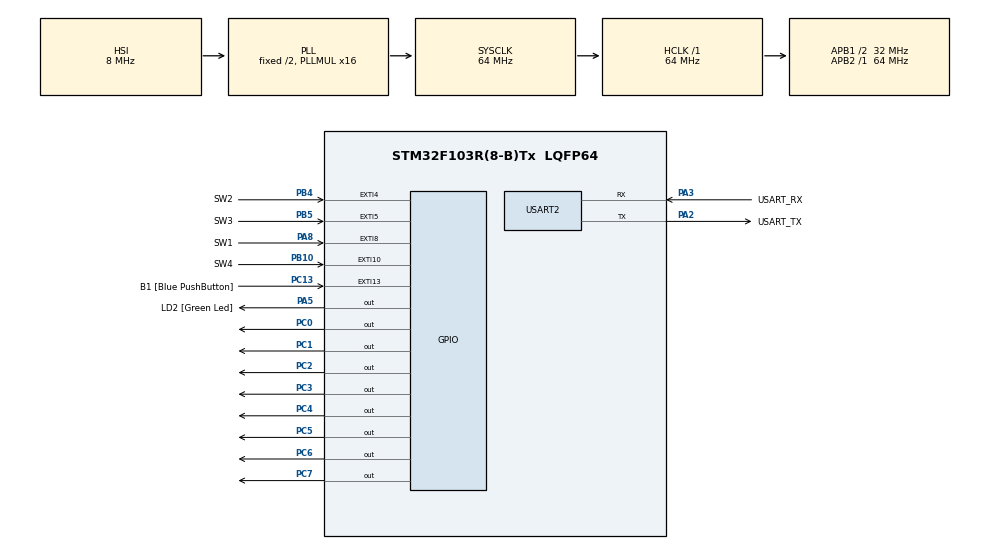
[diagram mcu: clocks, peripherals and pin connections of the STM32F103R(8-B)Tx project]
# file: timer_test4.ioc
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Mcu.Family=STM32F1
Mcu.Name=STM32F103R(8-B)Tx
Mcu.Package=LQFP64
NVIC.EXTI15_10_IRQn=true\:0\:0\:false\:false\:true\:true\:true\:true
NVIC.EXTI4_IRQn=true\:0\:0\:false\:false\:true\:true\:true\:true
NVIC.EXTI9_5_IRQn=true\:0\:0\:false\:false\:true\:true\:true\:true
NVIC.PriorityGroup=NVIC_PRIORITYGROUP_4
NVIC.TIM2_IRQn=true\:0\:0\:false\:false\:true\:true\:true\:true
PA13.GPIO_Label=TMS
PA13.Mode=Serial_Wire
PA13.Signal=SYS_JTMS-SWDIO
PA14.GPIO_Label=TCK
PA14.Mode=Serial_Wire
PA14.Signal=SYS_JTCK-SWCLK
PA2.GPIO_Label=USART_TX
PA2.GPIO_Mode=GPIO_MODE_AF_PP
PA2.GPIO_PuPd=GPIO_NOPULL
PA2.GPIO_Speed=GPIO_SPEED_FREQ_LOW
PA2.Mode=Asynchronous
PA2.Signal=USART2_TX
PA3.GPIO_Label=USART_RX
PA3.GPIO_Mode=GPIO_MODE_AF_PP
PA3.GPIO_PuPd=GPIO_NOPULL
PA3.GPIO_Speed=GPIO_SPEED_FREQ_LOW
PA3.Mode=Asynchronous
PA3.Signal=USART2_RX
PA5.GPIO_Label=LD2 [Green Led]
PA5.GPIO_ModeDefaultOutputPP=GPIO_MODE_OUTPUT_PP
PA5.GPIO_PuPd=GPIO_NOPULL
PA5.GPIO_Speed=GPIO_SPEED_FREQ_LOW
PA5.Signal=GPIO_Output
PA8.GPIO_Label=SW1
PA8.Signal=GPXTI8
PB10.GPIO_Label=SW4
PB10.Signal=GPXTI10
PB3.GPIO_Label=SWO
PB3.Signal=SYS_JTDO-TRACESWO
PB4.GPIO_Label=SW2
PB4.Signal=GPXTI4
PB5.GPIO_Label=SW3
PB5.Signal=GPXTI5
PC0.Signal=GPIO_Output
PC1.Signal=GPIO_Output
PC13-TAMPER-RTC.GPIO_Label=B1 [Blue PushButton]
PC13-TAMPER-RTC.GPIO_PuPd=GPIO_NOPULL
PC13-TAMPER-RTC.Signal=GPXTI13
PC14-OSC32_IN.Mode=LSE-External-Oscillator
PC14-OSC32_IN.Signal=RCC_OSC32_IN
PC15-OSC32_OUT.Mode=LSE-External-Oscillator
PC15-OSC32_OUT.Signal=RCC_OSC32_OUT
PC2.Signal=GPIO_Output
PC3.Signal=GPIO_Output
PC4.Signal=GPIO_Output
PC5.Signal=GPIO_Output
PC6.Signal=GPIO_Output
PC7.Signal=GPIO_Output
PD0-OSC_IN.Mode=HSE-External-Clock-Source
PD0-OSC_IN.Signal=RCC_OSC_IN
PD1-OSC_OUT.Mode=HSE-External-Clock-Source
PD1-OSC_OUT.Signal=RCC_OSC_OUT
ProjectManager.HeapSize=0x200
ProjectManager.StackSize=0x400
ProjectManager.TargetToolchain=STM32CubeIDE
RCC.AHBFreq_Value=64000000
RCC.APB1CLKDivider=RCC_HCLK_DIV2
RCC.APB1Freq_Value=32000000
RCC.APB1TimFreq_Value=64000000
RCC.APB2Freq_Value=64000000
RCC.APB2TimFreq_Value=64000000
RCC.HCLKFreq_Value=64000000
RCC.PLLMUL=RCC_PLL_MUL16
RCC.RTCClockSelection=RCC_RTCCLKSOURCE_LSE
RCC.SYSCLKFreq_VALUE=64000000
RCC.SYSCLKSource=RCC_SYSCLKSOURCE_PLLCLK
RCC.USBFreq_Value=64000000
TIM2.Channel-Output\ Compare1\ No\ Output=TIM_CHANNEL_1
TIM2.Channel-Output\ Compare2\ No\ Output=TIM_CHANNEL_2
TIM2.Period=10000-1
TIM2.Prescaler=6400-1
TIM2.Pulse-Output\ Compare2\ No\ Output=1000-1
USART2.VirtualMode=VM_ASYNC
VP_TIM2_VS_ClockSourceINT.Mode=Internal
VP_TIM2_VS_no_output1.Mode=Output Compare1 No Output
VP_TIM2_VS_no_output2.Mode=Output Compare2 No Output
board=NUCLEO-F103RB

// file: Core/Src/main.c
/* USER CODE BEGIN Header */
/**
  ******************************************************************************
  * @file           : main.c
  * @brief          : Main program body
  ******************************************************************************
  * @attention
  *
  * Copyright (c) 2022 STMicroelectronics.
  * All rights reserved.
  *
  * This software is licensed under terms that can be found in the LICENSE file
  * in the root directory of this software component.
  * If no LICENSE file comes with this software, it is provided AS-IS.
  *
  ******************************************************************************
  */
/* USER CODE END Header */
#include "main.h"

 TIM_HandleTypeDef htim2;

UART_HandleTypeDef huart2;

/* USER CODE BEGIN PV */
//TimHandler, TIM_OCInit �???���?? ?���???��?�� �???���?? ?��?��
extern TIM_HandleTypeDef TimHandle;
extern TIM_OC_InitTypeDef TIM_OCInit;
/* USER CODE END PV */

void SystemClock_Config(void);
static void MX_GPIO_Init(void);
static void MX_USART2_UART_Init(void);
static void MX_TIM2_Init(void);

int main(void)
{

  /* MCU Configuration--------------------------------------------------------*/

  /* Reset of all peripherals, Initializes the Flash interface and the Systick. */
  HAL_Init();

  /* Configure the system clock */
  SystemClock_Config();

  /* Initialize all configured peripherals */
  MX_GPIO_Init();
  MX_USART2_UART_Init();
  MX_TIM2_Init();

  /* Infinite loop */
  while (1)
  {

  }
}

void SystemClock_Config(void)
{
  RCC_OscInitTypeDef RCC_OscInitStruct = {0};
  RCC_ClkInitTypeDef RCC_ClkInitStruct = {0};

  /** Initializes the RCC Oscillators according to the specified parameters
  * in the RCC_OscInitTypeDef structure.
  */
  RCC_OscInitStruct.OscillatorType = RCC_OSCILLATORTYPE_HSI;
  RCC_OscInitStruct.HSIState = RCC_HSI_ON;
  RCC_OscInitStruct.HSICalibrationValue = RCC_HSICALIBRATION_DEFAULT;
  RCC_OscInitStruct.PLL.PLLState = RCC_PLL_ON;
  RCC_OscInitStruct.PLL.PLLSource = RCC_PLLSOURCE_HSI_DIV2;
  RCC_OscInitStruct.PLL.PLLMUL = RCC_PLL_MUL16;
  if (HAL_RCC_OscConfig(&RCC_OscInitStruct) != HAL_OK)
  {
    Error_Handler();
  }

  /** Initializes the CPU, AHB and APB buses clocks
  */
  RCC_ClkInitStruct.ClockType = RCC_CLOCKTYPE_HCLK|RCC_CLOCKTYPE_SYSCLK
                              |RCC_CLOCKTYPE_PCLK1|RCC_CLOCKTYPE_PCLK2;
  RCC_ClkInitStruct.SYSCLKSource = RCC_SYSCLKSOURCE_PLLCLK;
  RCC_ClkInitStruct.AHBCLKDivider = RCC_SYSCLK_DIV1;
  RCC_ClkInitStruct.APB1CLKDivider = RCC_HCLK_DIV2;
  RCC_ClkInitStruct.APB2CLKDivider = RCC_HCLK_DIV1;

  if (HAL_RCC_ClockConfig(&RCC_ClkInitStruct, FLASH_LATENCY_2) != HAL_OK)
  {
    Error_Handler();
  }
}

static void MX_TIM2_Init(void)
{

  TIM_ClockConfigTypeDef sClockSourceConfig = {0};
  TIM_MasterConfigTypeDef sMasterConfig = {0};
  TIM_OC_InitTypeDef sConfigOC = {0};

  htim2.Instance = TIM2;
  htim2.Init.Prescaler = 6400-1;
  htim2.Init.CounterMode = TIM_COUNTERMODE_UP;
  htim2.Init.Period = 10000-1;
  htim2.Init.ClockDivision = TIM_CLOCKDIVISION_DIV1;
  htim2.Init.AutoReloadPreload = TIM_AUTORELOAD_PRELOAD_DISABLE;
  if (HAL_TIM_Base_Init(&htim2) != HAL_OK)
  {
    Error_Handler();
  }
  sClockSourceConfig.ClockSource = TIM_CLOCKSOURCE_INTERNAL;
  if (HAL_TIM_ConfigClockSource(&htim2, &sClockSourceConfig) != HAL_OK)
  {
    Error_Handler();
  }
  if (HAL_TIM_OC_Init(&htim2) != HAL_OK)
  {
    Error_Handler();
  }
  sMasterConfig.MasterOutputTrigger = TIM_TRGO_RESET;
  sMasterConfig.MasterSlaveMode = TIM_MASTERSLAVEMODE_DISABLE;
  if (HAL_TIMEx_MasterConfigSynchronization(&htim2, &sMasterConfig) != HAL_OK)
  {
    Error_Handler();
  }
  sConfigOC.OCMode = TIM_OCMODE_TIMING;
  sConfigOC.Pulse = 0;
  sConfigOC.OCPolarity = TIM_OCPOLARITY_HIGH;
  sConfigOC.OCFastMode = TIM_OCFAST_DISABLE;
  if (HAL_TIM_OC_ConfigChannel(&htim2, &sConfigOC, TIM_CHANNEL_1) != HAL_OK)
  {
    Error_Handler();
  }
  sConfigOC.Pulse = 1000-1;
  if (HAL_TIM_OC_ConfigChannel(&htim2, &sConfigOC, TIM_CHANNEL_2) != HAL_OK)
  {
    Error_Handler();
  }
  /* USER CODE BEGIN TIM2_Init 2 */
  //???��머�? ?��?��?��?�� ?��?��. 콜백?��?�� ?��?��?�� ?�� ?��?��
	if (HAL_TIM_Base_Start_IT(&htim2) != HAL_OK) {
		Error_Handler();
	}
	if (HAL_TIM_OC_Start_IT(&htim2, TIM_CHANNEL_1) != HAL_OK) {
		Error_Handler();
	}
	if (HAL_TIM_OC_Start_IT(&htim2, TIM_CHANNEL_2) != HAL_OK) {
		Error_Handler();
	}
  /* USER CODE END TIM2_Init 2 */

}

static void MX_USART2_UART_Init(void)
{

  huart2.Instance = USART2;
  huart2.Init.BaudRate = 115200;
  huart2.Init.WordLength = UART_WORDLENGTH_8B;
  huart2.Init.StopBits = UART_STOPBITS_1;
  huart2.Init.Parity = UART_PARITY_NONE;
  huart2.Init.Mode = UART_MODE_TX_RX;
  huart2.Init.HwFlowCtl = UART_HWCONTROL_NONE;
  huart2.Init.OverSampling = UART_OVERSAMPLING_16;
  if (HAL_UART_Init(&huart2) != HAL_OK)
  {
    Error_Handler();
  }

}

static void MX_GPIO_Init(void)
{
  GPIO_InitTypeDef GPIO_InitStruct = {0};

  /* GPIO Ports Clock Enable */
  __HAL_RCC_GPIOC_CLK_ENABLE();
  __HAL_RCC_GPIOD_CLK_ENABLE();
  __HAL_RCC_GPIOA_CLK_ENABLE();
  __HAL_RCC_GPIOB_CLK_ENABLE();

  /*Configure GPIO pin Output Level */
  HAL_GPIO_WritePin(GPIOC, GPIO_PIN_0|GPIO_PIN_1|GPIO_PIN_2|GPIO_PIN_3
                          |GPIO_PIN_4|GPIO_PIN_5|GPIO_PIN_6|GPIO_PIN_7, GPIO_PIN_RESET);

  /*Configure GPIO pin Output Level */
  HAL_GPIO_WritePin(LD2_GPIO_Port, LD2_Pin, GPIO_PIN_RESET);

  /*Configure GPIO pin : B1_Pin */
  GPIO_InitStruct.Pin = B1_Pin;
  GPIO_InitStruct.Mode = GPIO_MODE_IT_RISING;
  GPIO_InitStruct.Pull = GPIO_NOPULL;
  HAL_GPIO_Init(B1_GPIO_Port, &GPIO_InitStruct);

  /*Configure GPIO pins : PC0 PC1 PC2 PC3
                           PC4 PC5 PC6 PC7 */
  GPIO_InitStruct.Pin = GPIO_PIN_0|GPIO_PIN_1|GPIO_PIN_2|GPIO_PIN_3
                          |GPIO_PIN_4|GPIO_PIN_5|GPIO_PIN_6|GPIO_PIN_7;
  GPIO_InitStruct.Mode = GPIO_MODE_OUTPUT_PP;
  GPIO_InitStruct.Pull = GPIO_NOPULL;
  GPIO_InitStruct.Speed = GPIO_SPEED_FREQ_LOW;
  HAL_GPIO_Init(GPIOC, &GPIO_InitStruct);

  /*Configure GPIO pin : LD2_Pin */
  GPIO_InitStruct.Pin = LD2_Pin;
  GPIO_InitStruct.Mode = GPIO_MODE_OUTPUT_PP;
  GPIO_InitStruct.Pull = GPIO_NOPULL;
  GPIO_InitStruct.Speed = GPIO_SPEED_FREQ_LOW;
  HAL_GPIO_Init(LD2_GPIO_Port, &GPIO_InitStruct);

  /*Configure GPIO pins : SW4_Pin SW2_Pin SW3_Pin */
  GPIO_InitStruct.Pin = SW4_Pin|SW2_Pin|SW3_Pin;
  GPIO_InitStruct.Mode = GPIO_MODE_IT_RISING;
  GPIO_InitStruct.Pull = GPIO_NOPULL;
  HAL_GPIO_Init(GPIOB, &GPIO_InitStruct);

  /*Configure GPIO pin : SW1_Pin */
  GPIO_InitStruct.Pin = SW1_Pin;
  GPIO_InitStruct.Mode = GPIO_MODE_IT_RISING;
  GPIO_InitStruct.Pull = GPIO_NOPULL;
  HAL_GPIO_Init(SW1_GPIO_Port, &GPIO_InitStruct);

  /* EXTI interrupt init*/
  HAL_NVIC_SetPriority(EXTI4_IRQn, 0, 0);
  HAL_NVIC_EnableIRQ(EXTI4_IRQn);

  HAL_NVIC_SetPriority(EXTI9_5_IRQn, 0, 0);
  HAL_NVIC_EnableIRQ(EXTI9_5_IRQn);

  HAL_NVIC_SetPriority(EXTI15_10_IRQn, 0, 0);
  HAL_NVIC_EnableIRQ(EXTI15_10_IRQn);

}

/* USER CODE BEGIN 4 */
void HAL_GPIO_EXTI_Callback(uint16_t GPIO_Pin) {
	TIM_OC_InitTypeDef TIM_OCInit;
	if (GPIO_Pin == SW1_Pin) {
//		TIM_OCInit.Pulse = 9999;
//		HAL_TIM_OC_ConfigChannel(&htim2, &TIM_OCInit, TIM_CHANNEL_1);
//		HAL_TIM_OC_ConfigChannel(&htim2, &TIM_OCInit, TIM_CHANNEL_2);
//		TIM2->CCR1 = 9999;
//		TIM2->CCR2 = 9999;

		__HAL_TIM_SET_COMPARE(&htim2, TIM_CHANNEL_1, 9999);
		__HAL_TIM_SET_COMPARE(&htim2, TIM_CHANNEL_2, 9999);
	}
	if (GPIO_Pin == SW2_Pin) {
//		TIM_OCInit.Pulse = 2500;
//		HAL_TIM_OC_ConfigChannel(&htim2, &TIM_OCInit, TIM_CHANNEL_1);.
//		TIM2->CCR1 = 2500;
		__HAL_TIM_SET_COMPARE(&htim2, TIM_CHANNEL_1, 2500);
	}
	if (GPIO_Pin == SW3_Pin) {
//		TIM_OCInit.Pulse = 5000;
//		HAL_TIM_OC_ConfigChannel(&htim2, &TIM_OCInit, TIM_CHANNEL_2);
//		TIM2->CCR2 = 5000;
		__HAL_TIM_SET_COMPARE(&htim2, TIM_CHANNEL_2, 5000);
	}
	if (GPIO_Pin == SW4_Pin) {
//		TIM_OCInit.Pulse = 1200;
//		HAL_TIM_OC_ConfigChannel(&htim2, &TIM_OCInit, TIM_CHANNEL_2);
//		TIM2->CCR2 = 9999;
		__HAL_TIM_SET_COMPARE(&htim2, TIM_CHANNEL_2, 9999);
	}

}
void HAL_TIM_PeriodElapsedCallback(TIM_HandleTypeDef *htim) {
	GPIOC->BSRR = 0X03;
	GPIOC->BSRR = 0XC0;
}

void HAL_TIM_OC_DelayElapsedCallback(TIM_HandleTypeDef *htim) {
	if(htim->Channel == HAL_TIM_ACTIVE_CHANNEL_1){
		GPIOC->BRR = 0X03;
	}
	if(htim->Channel == HAL_TIM_ACTIVE_CHANNEL_2){
		GPIOC->BRR = 0XC0;
	}
}
/* USER CODE END 4 */

void Error_Handler(void)
{
  __disable_irq();
  while (1)
  {
  }
}
